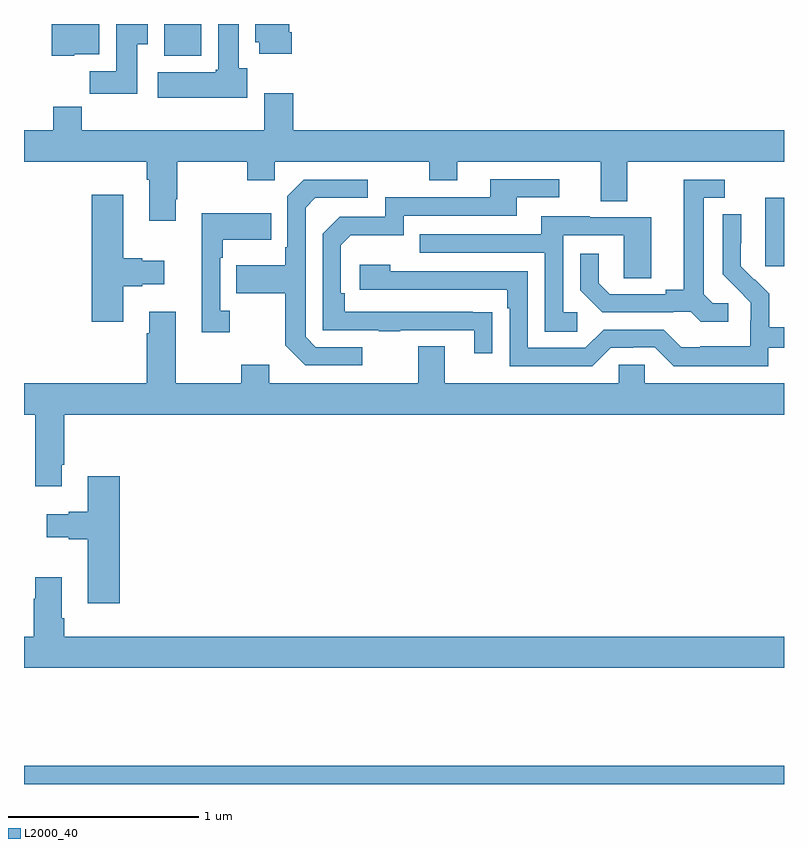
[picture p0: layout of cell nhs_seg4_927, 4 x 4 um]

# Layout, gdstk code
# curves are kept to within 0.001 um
import gdstk
lib = gdstk.Library(unit=1e-6, precision=1e-09)
def R(c, l, rs):  # rectangles x0, y0, x1, y1
    for r in rs: c.add(gdstk.rectangle(r[:2], r[2:], *l))
def P(c, l, *ps):  # polygons
    for p in ps: c.add(gdstk.Polygon(p, *l))
L2000_40 = (2000, 40)

nhs_seg4_927 = lib.new_cell('nhs_seg4_927')
R(nhs_seg4_927, L2000_40, [(159,770.9,163,770.996), (162.902,773.625,163,773.986), (159.737,774.734,159.933,774.9)])
P(nhs_seg4_927, L2000_40, [(160.409,774.856),(160.396,774.856),(160.396,774.9),(160.217,774.9),(160.217,774.804),(160.238,774.804),(160.238,774.744),(160.409,774.744)],
  [(159.264,774.74),(159.397,774.74),(159.397,774.9),(159.146,774.9),(159.146,774.734),(159.264,774.734)],
  [(159.595,774.793),(159.652,774.793),(159.652,774.9),(159.485,774.9),(159.485,774.652),(159.346,774.652),(159.346,774.534),(159.595,774.534)],
  [(160.174,774.666),(160.129,774.666),(160.129,774.9),(160.022,774.9),(160.022,774.66),(160.009,774.66),(160.009,774.646),(159.705,774.646),(159.705,774.512),(160.174,774.512)],
  [(159.799,773.977),(159.807,773.977),(159.807,774.176),(160.174,774.176),(160.174,774.077),(160.32,774.077),(160.32,774.176),(161.134,774.176),(161.134,774.077),(161.281,774.077),(161.281,774.176),(162.035,774.176),(162.035,773.968),(162.175,773.968),(162.175,774.176),(163,774.176),(163,774.34),(160.418,774.34),(160.418,774.535),(160.265,774.535),(160.265,774.34),(159.305,774.34),(159.305,774.464),(159.154,774.464),(159.154,774.34),(159,774.34),(159,774.176),(159.647,774.176),(159.647,774.08),(159.659,774.08),(159.659,773.865),(159.799,773.865)],
  [(161.465,773.384),(160.688,773.385),(160.688,773.482),(160.668,773.482),(160.668,773.736),(160.721,773.789),(160.998,773.789),(160.998,773.892),(161.593,773.892),(161.593,773.988),(161.818,773.988),(161.818,774.084),(161.453,774.084),(161.453,773.988),(160.902,773.988),(160.902,773.886),(160.662,773.886),(160.572,773.796),(160.572,773.289),(160.867,773.289),(160.867,773.284),(160.979,773.284),(160.979,773.289),(161.369,773.289),(161.369,773.166),(161.465,773.166)],
  [(160.78,773.199),(160.536,773.199),(160.482,773.253),(160.482,773.934),(160.533,773.985),(160.81,773.985),(160.81,774.081),(160.473,774.081),(160.386,773.994),(160.386,773.725),(160.374,773.725),(160.374,773.629),(160.117,773.629),(160.117,773.482),(160.374,773.482),(160.374,773.209),(160.479,773.103),(160.78,773.103)],
  [(162.706,773.43),(162.624,773.43),(162.577,773.477),(162.577,773.985),(162.688,773.985),(162.688,774.081),(162.473,774.081),(162.473,773.501),(162.377,773.501),(162.377,773.478),(162.082,773.478),(162.025,773.535),(162.025,773.692),(161.928,773.692),(161.928,773.498),(162.044,773.382),(162.416,773.382),(162.416,773.385),(162.51,773.385),(162.562,773.333),(162.706,773.333)],
  [(159.523,773.519),(159.623,773.519),(159.623,773.531),(159.739,773.531),(159.739,773.653),(159.623,773.653),(159.623,773.666),(159.523,773.666),(159.523,774.001),(159.356,774.001),(159.356,773.334),(159.523,773.334)],
  [(160.084,773.39),(160.032,773.39),(160.032,773.669),(160.045,773.669),(160.045,773.765),(160.301,773.765),(160.301,773.905),(159.935,773.905),(159.935,773.277),(160.084,773.277)],
  [(162.918,773.196),(163,773.196),(163,773.305),(162.923,773.305),(162.923,773.479),(162.846,773.556),(162.843,773.553),(162.773,773.624),(162.774,773.9),(162.678,773.9),(162.678,773.582),(162.824,773.434),(162.824,773.337),(162.822,773.337),(162.822,773.203),(162.559,773.203),(162.559,773.199),(162.459,773.199),(162.366,773.292),(162.051,773.292),(161.955,773.196),(161.652,773.196),(161.652,773.598),(160.928,773.598),(160.928,773.632),(160.767,773.632),(160.767,773.502),(161.543,773.502),(161.543,773.405),(161.556,773.405),(161.556,773.1),(161.991,773.1),(162.087,773.196),(162.206,773.196),(162.206,773.199),(162.321,773.199),(162.421,773.099),(162.918,773.099)],
  [(161.911,773.382),(161.838,773.382),(161.838,773.787),(162.156,773.787),(162.156,773.563),(162.301,773.563),(162.301,773.883),(161.977,773.883),(161.977,773.887),(161.723,773.887),(161.723,773.793),(161.083,773.793),(161.083,773.697),(161.742,773.697),(161.742,773.281),(161.911,773.281)],
  [(163,773.008),(162.267,773.008),(162.267,773.106),(162.129,773.106),(162.129,773.008),(161.215,773.008),(161.215,773.203),(161.075,773.203),(161.075,773.008),(160.291,773.008),(160.291,773.107),(160.144,773.107),(160.144,773.008),(159.799,773.008),(159.799,773.386),(159.659,773.386),(159.659,773.273),(159.647,773.273),(159.647,773.008),(159,773.008),(159,772.844),(159.059,772.844),(159.059,772.467),(159.199,772.467),(159.199,772.579),(159.212,772.579),(159.212,772.844),(163,772.844)],
  [(159.503,772.519),(159.335,772.519),(159.335,772.334),(159.236,772.334),(159.236,772.321),(159.12,772.321),(159.12,772.199),(159.236,772.199),(159.236,772.187),(159.335,772.187),(159.335,771.852),(159.503,771.852)],
  [(163,771.676),(159.212,771.676),(159.212,771.772),(159.199,771.772),(159.199,771.988),(159.059,771.988),(159.059,771.875),(159.052,771.875),(159.052,771.676),(159,771.676),(159,771.512),(163,771.512)])

lib.write_gds('nhs_seg4_927.gds')
